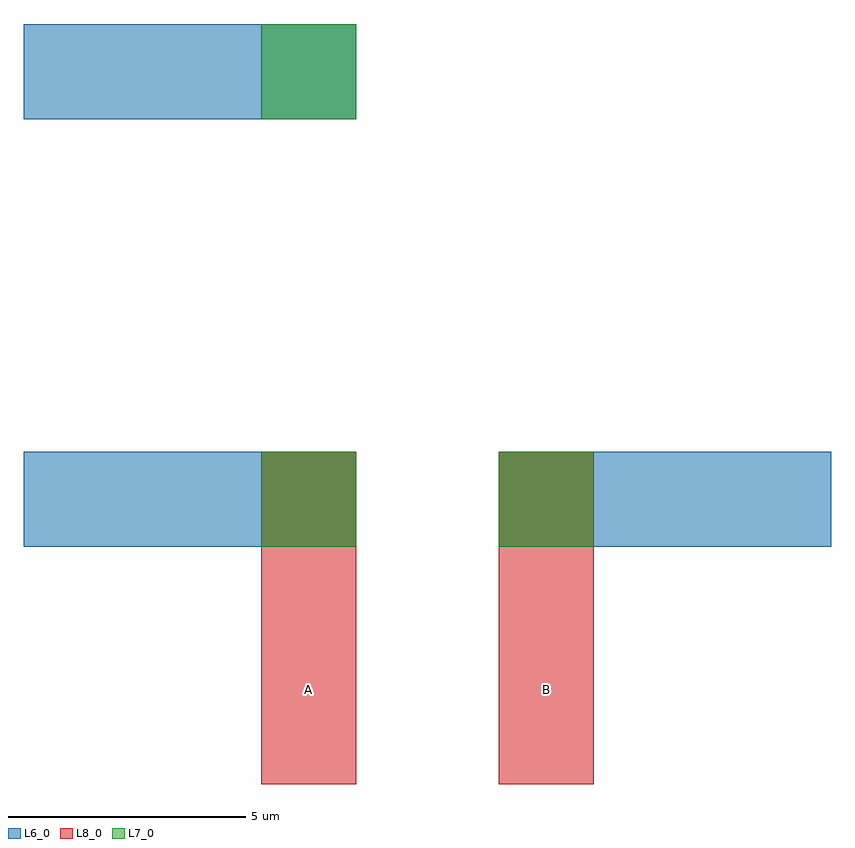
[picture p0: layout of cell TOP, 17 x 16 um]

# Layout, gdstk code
import gdstk
lib = gdstk.Library(unit=1e-6, precision=1e-09)
def R(c, l, rs):  # rectangles x0, y0, x1, y1
    for r in rs: c.add(gdstk.rectangle(r[:2], r[2:], *l))
L6_0 = (6, 0)
L7_0 = (7, 0)
L8_0 = (8, 0)

c_a = lib.new_cell('A')
R(c_a, L6_0, [(1,2,8,4), (11,2,18,4), (1,11,8,13)])
R(c_a, L7_0, [(6,2,8,4), (11,2,13,4), (6,11,8,13)])
c_a.add(gdstk.Label('NET1', (3,3), layer=6, texttype=1))
c_a.add(gdstk.Label('NET2', (15,3), layer=6, texttype=1))
c_a.add(gdstk.Label('NET3', (3,12), layer=6, texttype=1))

top = lib.new_cell('TOP')
R(top, L8_0, [(-2,0,0,7), (3,0,5,7)])
r = gdstk.Reference(c_a, (-8,3)); r.repetition = gdstk.Repetition(1, 1, v1=(0,0), v2=(0,0)); top.add(r)
top.add(gdstk.Label('A', (-1,2), layer=8, texttype=1))
top.add(gdstk.Label('B', (4,2), layer=8, texttype=1))

lib.write_gds('TOP.gds')
